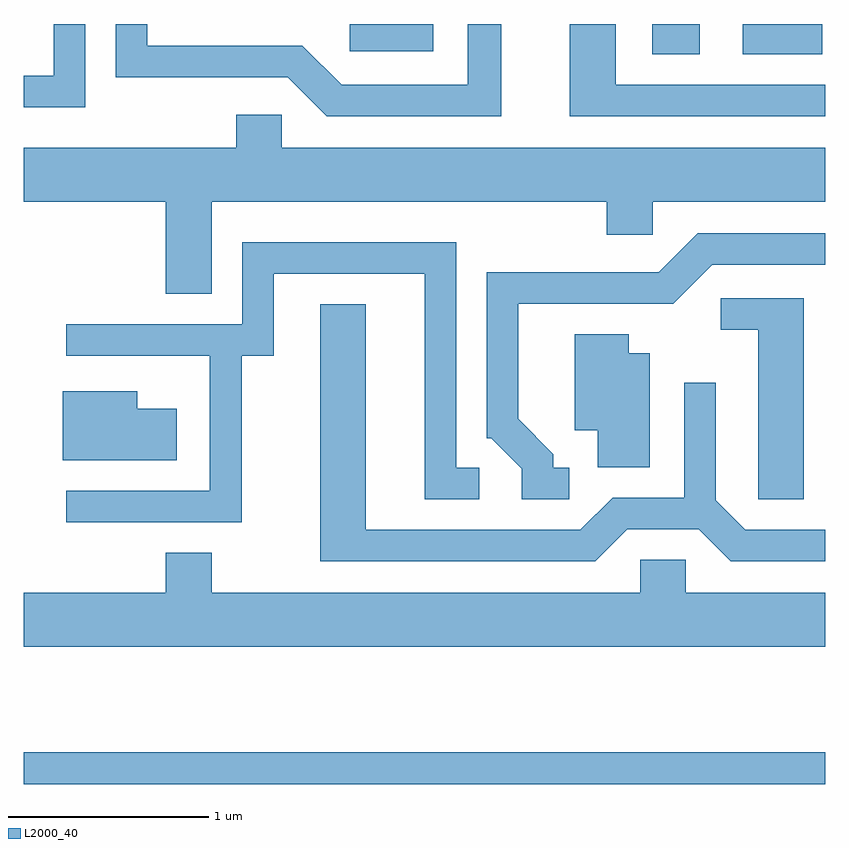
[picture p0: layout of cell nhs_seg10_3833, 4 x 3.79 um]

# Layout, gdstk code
import gdstk
lib = gdstk.Library(unit=1e-6, precision=1e-09)
def R(c, l, rs):  # rectangles x0, y0, x1, y1
    for r in rs: c.add(gdstk.rectangle(r[:2], r[2:], *l))
def P(c, l, *ps):  # polygons
    for p in ps: c.add(gdstk.Polygon(p, *l))
L2000_40 = (2000, 40)

nhs_seg10_3833 = lib.new_cell('nhs_seg10_3833')
R(nhs_seg10_3833, L2000_40, [(297.611,2168.731,301.611,2168.889), (300.748,2172.371,300.984,2172.522), (301.198,2172.371,301.594,2172.522), (299.238,2172.386,299.654,2172.522)])
P(nhs_seg10_3833, L2000_40, [(299.994,2172.522),(299.826,2172.522),(299.826,2172.219),(299.197,2172.219),(299.002,2172.414),(298.229,2172.414),(298.229,2172.522),(298.071,2172.522),(298.071,2172.256),(298.929,2172.256),(299.124,2172.061),(299.994,2172.061)],
  [(301.611,2172.219),(300.564,2172.219),(300.564,2172.522),(300.336,2172.522),(300.336,2172.061),(301.611,2172.061)],
  [(297.919,2172.522),(297.761,2172.522),(297.761,2172.264),(297.611,2172.264),(297.611,2172.106),(297.919,2172.106)],
  [(298.549,2171.636),(300.521,2171.636),(300.521,2171.471),(300.749,2171.471),(300.749,2171.636),(301.611,2171.636),(301.611,2171.904),(298.899,2171.904),(298.899,2172.069),(298.671,2172.069),(298.671,2171.904),(297.611,2171.904),(297.611,2171.636),(298.321,2171.636),(298.321,2171.176),(298.549,2171.176)],
  [(300.333,2170.309),(300.254,2170.309),(300.254,2170.377),(300.079,2170.552),(300.079,2171.126),(300.852,2171.126),(301.047,2171.321),(301.611,2171.321),(301.611,2171.479),(300.974,2171.479),(300.779,2171.284),(299.921,2171.284),(299.921,2170.456),(299.944,2170.456),(300.096,2170.304),(300.096,2170.151),(300.333,2170.151)],
  [(298.699,2170.866),(298.859,2170.866),(298.859,2171.276),(299.611,2171.276),(299.611,2170.151),(299.883,2170.151),(299.883,2170.309),(299.769,2170.309),(299.769,2171.434),(298.701,2171.434),(298.701,2171.024),(297.823,2171.024),(297.823,2170.866),(298.541,2170.866),(298.541,2170.194),(297.823,2170.194),(297.823,2170.036),(298.699,2170.036)],
  [(301.504,2171.154),(301.088,2171.154),(301.088,2170.996),(301.276,2170.996),(301.276,2170.151),(301.504,2170.151)],
  [(300.622,2170.001),(300.979,2170.001),(301.139,2169.841),(301.611,2169.841),(301.611,2169.999),(301.212,2169.999),(301.064,2170.147),(301.064,2170.733),(300.906,2170.733),(300.906,2170.159),(300.549,2170.159),(300.389,2169.999),(299.319,2169.999),(299.319,2171.124),(299.091,2171.124),(299.091,2169.841),(300.462,2169.841)],
  [(300.734,2170.879),(300.629,2170.879),(300.629,2170.974),(300.361,2170.974),(300.361,2170.496),(300.476,2170.496),(300.476,2170.311),(300.734,2170.311)],
  [(298.374,2170.604),(298.179,2170.604),(298.179,2170.689),(297.806,2170.689),(297.806,2170.346),(298.374,2170.346)],
  [(301.611,2169.684),(300.914,2169.684),(300.914,2169.849),(300.686,2169.849),(300.686,2169.684),(298.549,2169.684),(298.549,2169.884),(298.321,2169.884),(298.321,2169.684),(297.611,2169.684),(297.611,2169.416),(301.611,2169.416)])

lib.write_gds('nhs_seg10_3833.gds')
